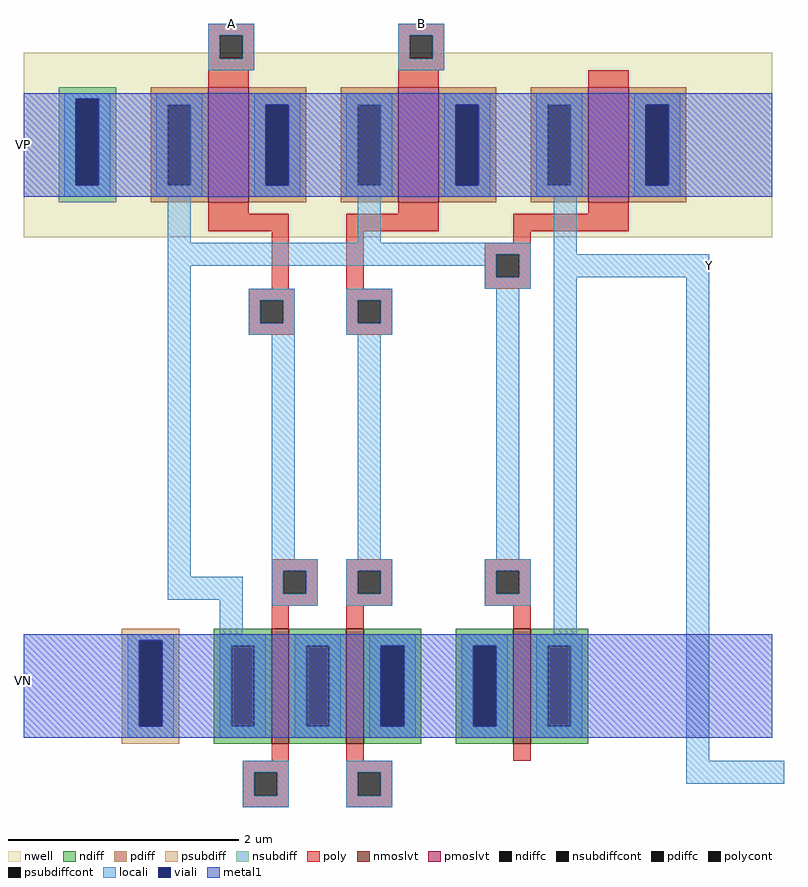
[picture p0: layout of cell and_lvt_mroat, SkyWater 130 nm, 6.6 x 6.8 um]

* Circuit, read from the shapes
.subckt and_lvt_mroat VP VN A B Y
XM1 n1 A n2 VN sky130_fd_pr__nfet_01v8_lvt w=1 l=0.15
XM2 VN B n1 VN sky130_fd_pr__nfet_01v8_lvt w=1 l=0.15
XM3 Y n2 VN VN sky130_fd_pr__nfet_01v8_lvt w=1 l=0.15
XM4 VP A n2 VP sky130_fd_pr__pfet_01v8_lvt w=1 l=0.35
XM5 VP B n2 VP sky130_fd_pr__pfet_01v8_lvt w=1 l=0.35
XM6 VP n2 Y VP sky130_fd_pr__pfet_01v8_lvt w=1 l=0.35
.ends

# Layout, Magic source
magic
tech sky130A
<< nwell >>
rect -160 220 490 380
<< pmoslvt >>
rect 0 250 35 350
rect 165 250 200 350
rect 330 250 365 350
<< nmoslvt >>
rect 55 -220 70 -120
rect 120 -220 135 -120
rect 265 -220 280 -120
<< ndiff >>
rect 5 -135 55 -120
rect 5 -205 20 -135
rect 40 -205 55 -135
rect 5 -220 55 -205
rect 70 -135 120 -120
rect 70 -205 85 -135
rect 105 -205 120 -135
rect 70 -220 120 -205
rect 135 -135 185 -120
rect 135 -205 150 -135
rect 170 -205 185 -135
rect 135 -220 185 -205
rect 215 -135 265 -120
rect 215 -205 230 -135
rect 250 -205 265 -135
rect 215 -220 265 -205
rect 280 -135 330 -120
rect 280 -205 295 -135
rect 315 -205 330 -135
rect 280 -220 330 -205
<< pdiff >>
rect -50 335 0 350
rect -50 265 -35 335
rect -15 265 0 335
rect -50 250 0 265
rect 35 335 85 350
rect 35 265 50 335
rect 70 265 85 335
rect 35 250 85 265
rect 115 335 165 350
rect 115 265 130 335
rect 150 265 165 335
rect 115 250 165 265
rect 200 335 250 350
rect 200 265 215 335
rect 235 265 250 335
rect 200 250 250 265
rect 280 335 330 350
rect 280 265 295 335
rect 315 265 330 335
rect 280 250 330 265
rect 365 335 415 350
rect 365 265 380 335
rect 400 265 415 335
rect 365 250 415 265
<< ndiffc >>
rect 20 -205 40 -135
rect 85 -205 105 -135
rect 150 -205 170 -135
rect 230 -205 250 -135
rect 295 -205 315 -135
<< pdiffc >>
rect -35 265 -15 335
rect 50 265 70 335
rect 130 265 150 335
rect 215 265 235 335
rect 295 265 315 335
rect 380 265 400 335
<< psubdiff >>
rect -75 -130 -25 -120
rect -75 -205 -60 -130
rect -40 -205 -25 -130
rect -75 -220 -25 -205
<< nsubdiff >>
rect -130 340 -80 350
rect -130 265 -115 340
rect -95 265 -80 340
rect -130 250 -80 265
<< psubdiffcont >>
rect -60 -205 -40 -130
<< nsubdiffcont >>
rect -115 265 -95 340
<< poly >>
rect 0 395 40 405
rect 0 375 10 395
rect 30 375 40 395
rect 0 365 40 375
rect 165 395 205 405
rect 165 375 175 395
rect 195 375 205 395
rect 165 365 205 375
rect 0 350 35 365
rect 165 350 200 365
rect 330 350 365 365
rect 0 240 35 250
rect 165 240 200 250
rect 330 240 365 250
rect 0 225 70 240
rect 55 175 70 225
rect 120 225 200 240
rect 265 225 365 240
rect 120 175 135 225
rect 265 215 280 225
rect 240 205 280 215
rect 240 185 250 205
rect 270 185 280 205
rect 240 175 280 185
rect 35 165 75 175
rect 35 145 45 165
rect 65 145 75 165
rect 35 135 75 145
rect 120 165 160 175
rect 120 145 130 165
rect 150 145 160 165
rect 120 135 160 145
rect 55 -70 95 -60
rect 55 -90 65 -70
rect 85 -90 95 -70
rect 55 -100 95 -90
rect 120 -70 160 -60
rect 120 -90 130 -70
rect 150 -90 160 -70
rect 120 -100 160 -90
rect 240 -70 280 -60
rect 240 -90 250 -70
rect 270 -90 280 -70
rect 240 -100 280 -90
rect 55 -120 70 -100
rect 120 -120 135 -100
rect 265 -120 280 -100
rect 55 -235 70 -220
rect 30 -245 70 -235
rect 30 -265 40 -245
rect 60 -265 70 -245
rect 30 -275 70 -265
rect 120 -235 135 -220
rect 265 -235 280 -220
rect 120 -245 160 -235
rect 120 -265 130 -245
rect 150 -265 160 -245
rect 120 -275 160 -265
<< polycont >>
rect 10 375 30 395
rect 175 375 195 395
rect 250 185 270 205
rect 45 145 65 165
rect 130 145 150 165
rect 65 -90 85 -70
rect 130 -90 150 -70
rect 250 -90 270 -70
rect 40 -265 60 -245
rect 130 -265 150 -245
<< locali >>
rect 0 395 40 405
rect 0 375 10 395
rect 30 375 40 395
rect 0 365 40 375
rect 165 395 205 405
rect 165 375 175 395
rect 195 375 205 395
rect 165 365 205 375
rect -125 340 -85 345
rect -125 265 -115 340
rect -95 265 -85 340
rect -125 255 -85 265
rect -45 335 -5 345
rect -45 265 -35 335
rect -15 265 -5 335
rect -45 255 -5 265
rect 40 335 80 345
rect 40 265 50 335
rect 70 265 80 335
rect 40 255 80 265
rect 120 335 160 345
rect 120 265 130 335
rect 150 265 160 335
rect 120 255 160 265
rect 205 335 245 345
rect 205 265 215 335
rect 235 265 245 335
rect 205 255 245 265
rect 285 335 325 345
rect 285 265 295 335
rect 315 265 325 335
rect 285 255 325 265
rect 370 335 410 345
rect 370 265 380 335
rect 400 265 410 335
rect 370 255 410 265
rect -35 215 -15 255
rect 130 215 150 255
rect -35 205 280 215
rect -35 195 250 205
rect -35 -75 -15 195
rect 240 185 250 195
rect 270 185 280 205
rect 240 175 280 185
rect 300 205 320 255
rect 300 185 435 205
rect 35 165 75 175
rect 35 145 45 165
rect 65 145 75 165
rect 35 135 75 145
rect 120 165 160 175
rect 120 145 130 165
rect 150 145 160 165
rect 120 135 160 145
rect 55 -60 75 135
rect 130 -60 150 135
rect 250 -60 270 175
rect 55 -70 95 -60
rect -35 -95 30 -75
rect 10 -125 30 -95
rect 55 -90 65 -70
rect 85 -90 95 -70
rect 55 -100 95 -90
rect 120 -70 160 -60
rect 120 -90 130 -70
rect 150 -90 160 -70
rect 120 -100 160 -90
rect 240 -70 280 -60
rect 240 -90 250 -70
rect 270 -90 280 -70
rect 240 -100 280 -90
rect 300 -125 320 185
rect -70 -130 -30 -125
rect -70 -205 -60 -130
rect -40 -205 -30 -130
rect -70 -215 -30 -205
rect 10 -135 50 -125
rect 10 -205 20 -135
rect 40 -205 50 -135
rect 10 -215 50 -205
rect 75 -135 115 -125
rect 75 -205 85 -135
rect 105 -205 115 -135
rect 75 -215 115 -205
rect 140 -135 180 -125
rect 140 -205 150 -135
rect 170 -205 180 -135
rect 140 -215 180 -205
rect 220 -135 260 -125
rect 220 -205 230 -135
rect 250 -205 260 -135
rect 220 -215 260 -205
rect 285 -135 325 -125
rect 285 -205 295 -135
rect 315 -205 325 -135
rect 285 -215 325 -205
rect 415 -235 435 185
rect 30 -245 70 -235
rect 30 -265 40 -245
rect 60 -265 70 -245
rect 30 -275 70 -265
rect 120 -245 160 -235
rect 120 -265 130 -245
rect 150 -265 160 -245
rect 415 -255 500 -235
rect 120 -275 160 -265
<< viali >>
rect -115 265 -95 340
rect 50 265 70 335
rect 215 265 235 335
rect 380 265 400 335
rect -60 -205 -40 -130
rect 150 -205 170 -135
rect 230 -205 250 -135
<< metal1 >>
rect -160 340 490 345
rect -160 265 -115 340
rect -95 335 490 340
rect -95 265 50 335
rect 70 265 215 335
rect 235 265 380 335
rect 400 265 490 335
rect -160 255 490 265
rect -160 -130 490 -125
rect -160 -205 -60 -130
rect -40 -135 490 -130
rect -40 -205 150 -135
rect 170 -205 230 -135
rect 250 -205 490 -135
rect -160 -215 490 -205
<< labels >>
rlabel locali 435 195 435 195 3 Y
port 5 e
rlabel metal1 -160 300 -160 300 7 VP
port 1 w
rlabel locali 20 405 20 405 1 A
port 3 n
rlabel locali 185 405 185 405 1 B
port 4 n
rlabel metal1 -160 -165 -160 -165 7 VN
port 2 w
<< end >>
